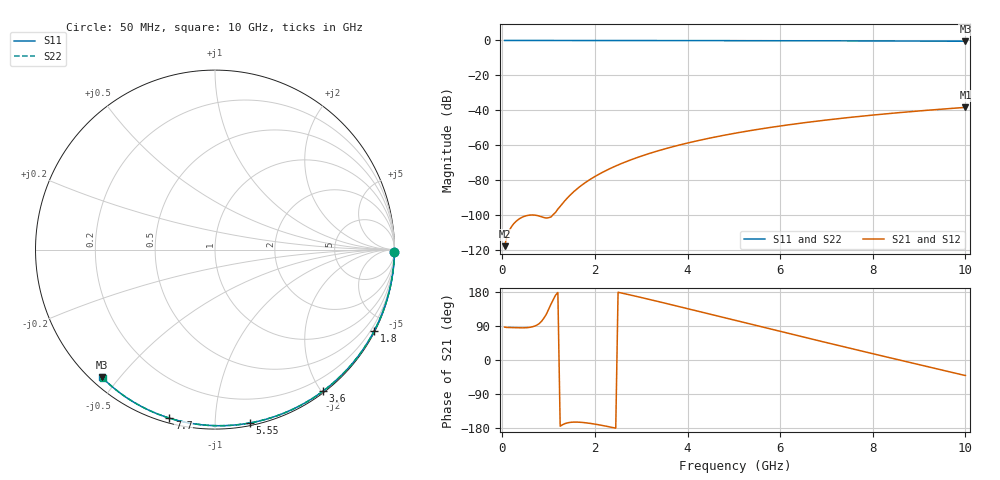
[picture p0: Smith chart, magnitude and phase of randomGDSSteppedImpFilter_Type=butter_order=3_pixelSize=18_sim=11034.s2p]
! freq	dB(S11)	phase(S11)	dB(S12)	phase(S12)
!  dB(S21)	phase(S21)	dB(S22)	phase(S22)
!S-par simulation data
#  GHz  S  DB  R 50
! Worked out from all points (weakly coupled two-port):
!   200 points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, 50 MHz to 10 GHz, reference 50 ohm
!   highest |S21| = -38.42 dB at 10 GHz (marker M1); lowest = -118.1 dB at 50 MHz (marker M2)
!   lowest |S11| = -0.4 dB at 10 GHz (marker M3), VSWR 39.08, Z = 1.54 - j22.5 ohm
!   |S11| at or under -10 dB: nowhere
!   |S22| runs from -0.4 to 0.0 dB; largest |S21 - S12| = 0
!   S11 on the Smith chart (normalised r, x): 50 MHz: open; 1.8 GHz: 0.04, -4.17; 3.6 GHz: 0.02, -2.02; 5.55 GHz: 0.02, -1.22; 7.7 GHz: 0.02, -0.77; 10 GHz: 0.03, -0.45
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0.05  -0.00 -0.8  -118.06 86.7  -118.06 86.7  -0.00 -0.8
0.9  -0.02 -13.6  -101.63 110.8  -101.63 110.8  -0.02 -13.6
1.75  -0.03 -26.2  -82.38 -165.0  -82.38 -165.0  -0.03 -26.2
1.8  -0.03 -27.0  -81.44 -165.7  -81.44 -165.7  -0.03 -26.9
1.85  -0.04 -27.7  -80.54 -166.4  -80.54 -166.4  -0.04 -27.6
1.9  -0.04 -28.4  -79.69 -167.3  -79.69 -167.3  -0.04 -28.4
2.05  -0.04 -30.6  -77.31 -170.2  -77.31 -170.2  -0.04 -30.5
2.25  -0.04 -33.5  -74.50 -174.8  -74.50 -174.8  -0.04 -33.4
2.45  -0.05 -36.4  -72.02 -179.9  -72.02 -179.9  -0.05 -36.3
2.65  -0.05 -39.3  -69.80 174.7  -69.80 174.7  -0.05 -39.2
3  -0.06 -44.3  -66.39 164.9  -66.39 164.9  -0.06 -44.2
3.4  -0.07 -49.9  -63.05 153.3  -63.05 153.3  -0.07 -49.8
3.6  -0.07 -52.7  -61.56 147.4  -61.56 147.4  -0.07 -52.6
4.3  -0.09 -62.3  -57.05 126.6  -57.05 126.6  -0.09 -62.1
5.05  -0.11 -72.3  -53.12 104.0  -53.12 104.0  -0.11 -72.1
5.55  -0.13 -78.7  -50.89 89.0  -50.89 89.0  -0.13 -78.5
6.1  -0.15 -85.7  -48.71 72.6  -48.71 72.6  -0.15 -85.5
6.7  -0.18 -93.1  -46.61 54.8  -46.61 54.8  -0.18 -92.9
7.7  -0.24 -105.1  -43.62 25.4  -43.62 25.4  -0.24 -104.9
8.35  -0.29 -112.7  -41.95 6.5  -41.95 6.5  -0.29 -112.5
9.15  -0.36 -121.9  -40.12 -16.6  -40.12 -16.6  -0.36 -121.6
10  -0.44 -131.5  -38.42 -41.0  -38.42 -41.0  -0.44 -131.2
